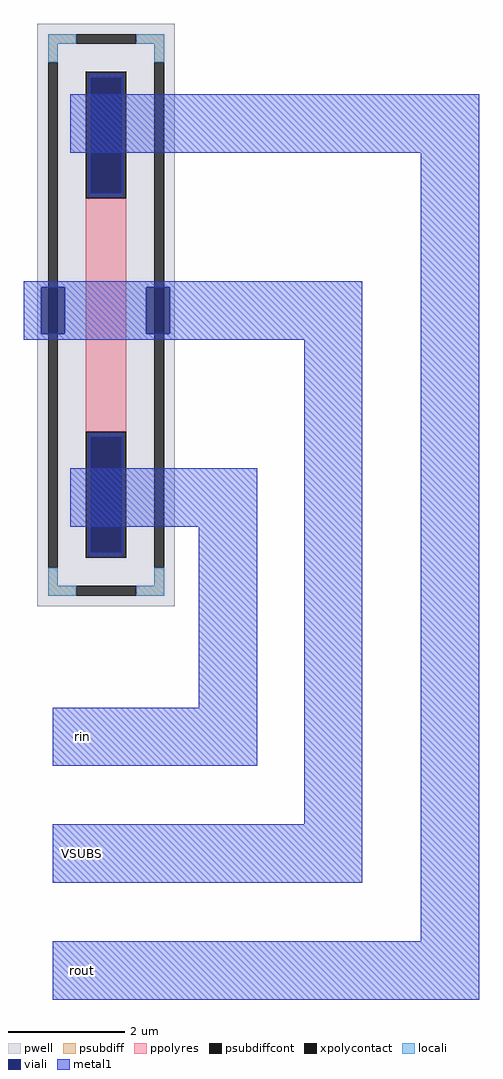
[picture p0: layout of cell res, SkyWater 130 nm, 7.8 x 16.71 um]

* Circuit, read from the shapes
.subckt res rin VSUBS rout
XR1 rout rin VSUBS sky130_fd_pr__res_high_po w=0.69 l=4
.ends

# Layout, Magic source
magic
tech sky130A
magscale 1 2
<< viali >>
rect -40 1480 40 1640
rect 320 1480 400 1640
<< metal1 >>
rect 60 2100 1460 2300
rect -100 1640 1060 1660
rect -100 1480 -40 1640
rect 40 1480 320 1640
rect 400 1480 1060 1640
rect -100 1460 1060 1480
rect 60 820 700 1020
rect 500 200 700 820
rect 0 0 700 200
rect 860 -200 1060 1460
rect 0 -400 1060 -200
rect 1260 -600 1460 2100
rect 0 -800 1460 -600
use sky130_fd_pr__res_high_po_0p69_T36FNH  XR1
transform 1 0 182 0 1 1545
box -235 -998 235 998
<< labels >>
flabel metal1 0 0 200 200 0 FreeSans 256 0 0 0 rin
port 0 nsew
flabel metal1 0 -400 200 -200 0 FreeSans 256 0 0 0 VSUBS
port 1 nsew
flabel metal1 0 -800 200 -600 0 FreeSans 256 0 0 0 rout
port 2 nsew
<< end >>

# cell sky130_fd_pr__res_high_po_0p69_T36FNH: kit device sky130_fd_pr__res_high_po_0p69, w 0.690 l 4.16 m 1 nx 1 wmin 0.690 lmin 0.50 rho 319.8 val 2.492k dummy 0 dw 0.0 term 194.82 sterm 0.0 caplen 0 guard 1 glc 1 grc 1 gtc 1 gbc 1 compatible {sky130_fd_pr__res_high_po_0p35 sky130_fd_pr__res_high_po_0p69 sky130_fd_pr__res_high_po_1p41 sky130_fd_pr__res_high_po_2p85 sky130_fd_pr__res_high_po_5p73} snake 0 full_metal 1 wmax 0.690 n_guard 0 hv_guard 0 vias 1 viagb 0 viagt 0 viagl 0 viagr 0
